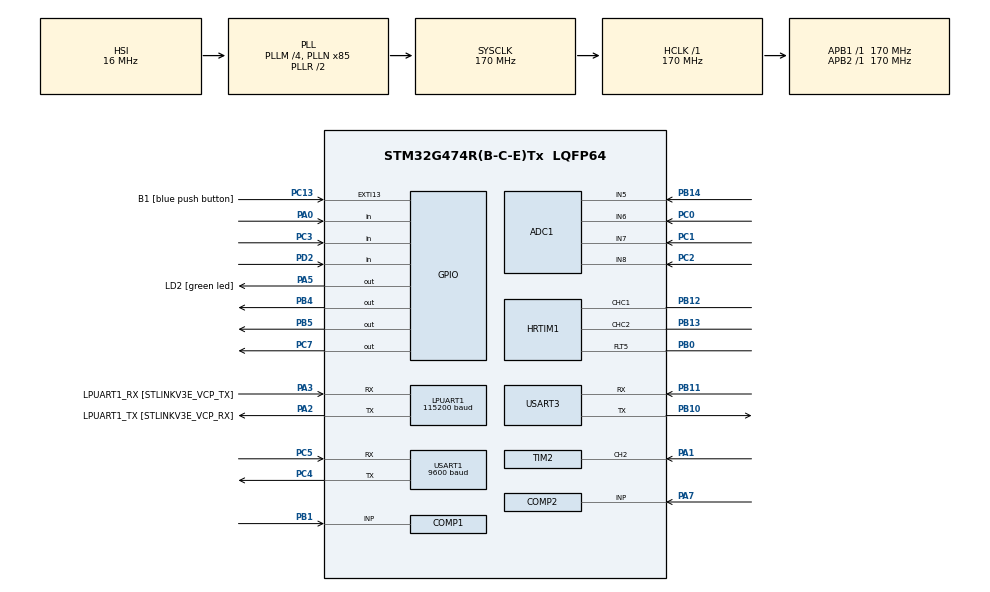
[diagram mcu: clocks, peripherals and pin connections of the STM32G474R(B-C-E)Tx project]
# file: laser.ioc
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ADC1.Channel-0\#ChannelRegularConversion=ADC_CHANNEL_5
ADC1.Channel-1\#ChannelRegularConversion=ADC_CHANNEL_6
ADC1.Channel-2\#ChannelRegularConversion=ADC_CHANNEL_7
ADC1.Channel-4\#ChannelRegularConversion=ADC_CHANNEL_8
ADC1.Channel-7\#ChannelRegularConversion=ADC_CHANNEL_TEMPSENSOR_ADC1
ADC1.ClockPrescaler=ADC_CLOCK_ASYNC_DIV4
ADC1.ContinuousConvMode=DISABLE
ADC1.DMAContinuousRequests=ENABLE
ADC1.EOCSelection=ADC_EOC_SEQ_CONV
ADC1.EnableInjectedConversion=DISABLE
ADC1.ExternalTrigConv=ADC_EXTERNALTRIG_T4_TRGO
ADC1.ExternalTrigConvEdge=ADC_EXTERNALTRIGCONVEDGE_RISING
ADC1.NbrOfConversion=5
ADC1.NbrOfConversionFlag=1
ADC1.OffsetNumber-0\#ChannelRegularConversion=ADC_OFFSET_NONE
ADC1.OffsetNumber-1\#ChannelRegularConversion=ADC_OFFSET_NONE
ADC1.OffsetNumber-2\#ChannelRegularConversion=ADC_OFFSET_NONE
ADC1.OffsetNumber-4\#ChannelRegularConversion=ADC_OFFSET_NONE
ADC1.OffsetNumber-7\#ChannelRegularConversion=ADC_OFFSET_NONE
ADC1.Overrun=ADC_OVR_DATA_OVERWRITTEN
ADC1.OversamplingMode=ENABLE
ADC1.Rank-0\#ChannelRegularConversion=1
ADC1.Rank-1\#ChannelRegularConversion=2
ADC1.Rank-2\#ChannelRegularConversion=3
ADC1.Rank-4\#ChannelRegularConversion=4
ADC1.Rank-7\#ChannelRegularConversion=5
ADC1.Ratio=ADC_OVERSAMPLING_RATIO_4
ADC1.RightBitShift=ADC_RIGHTBITSHIFT_2
ADC1.SamplingTime-0\#ChannelRegularConversion=ADC_SAMPLETIME_2CYCLES_5
ADC1.SamplingTime-1\#ChannelRegularConversion=ADC_SAMPLETIME_2CYCLES_5
ADC1.SamplingTime-2\#ChannelRegularConversion=ADC_SAMPLETIME_2CYCLES_5
ADC1.SamplingTime-4\#ChannelRegularConversion=ADC_SAMPLETIME_2CYCLES_5
ADC1.SamplingTime-7\#ChannelRegularConversion=ADC_SAMPLETIME_640CYCLES_5
ADC1.master=1
COMP1.Hysteresis=COMP_HYSTERESIS_70MV
COMP1.TriggerMode=COMP_TRIGGERMODE_IT_RISING
COMP2.Hysteresis=COMP_HYSTERESIS_70MV
COMP2.TriggerMode=COMP_TRIGGERMODE_IT_RISING
DAC1.DAC_Channel-DAC_OUT2_Int=DAC_CHANNEL_2
Dma.ADC1.0.Direction=DMA_PERIPH_TO_MEMORY
Dma.ADC1.0.EventEnable=DISABLE
Dma.ADC1.0.Instance=DMA1_Channel1
Dma.ADC1.0.MemDataAlignment=DMA_MDATAALIGN_HALFWORD
Dma.ADC1.0.MemInc=DMA_MINC_ENABLE
Dma.ADC1.0.Mode=DMA_CIRCULAR
Dma.ADC1.0.PeriphDataAlignment=DMA_PDATAALIGN_HALFWORD
Dma.ADC1.0.PeriphInc=DMA_PINC_DISABLE
Dma.ADC1.0.Polarity=HAL_DMAMUX_REQ_GEN_RISING
Dma.ADC1.0.Priority=DMA_PRIORITY_VERY_HIGH
Dma.ADC1.0.RequestNumber=1
Dma.ADC1.0.SignalID=NONE
Dma.ADC1.0.SyncEnable=DISABLE
Dma.ADC1.0.SyncPolarity=HAL_DMAMUX_SYNC_NO_EVENT
Dma.ADC1.0.SyncRequestNumber=1
Dma.ADC1.0.SyncSignalID=NONE
Dma.Request0=ADC1
FREERTOS.Mutexes01=usart3Mutex,Dynamic,NULL
FREERTOS.Queues01=McuTempQueue,8,int16_t,0,Dynamic,NULL,NULL;FlybackTempQueue,8,int16_t,0,Dynamic,NULL,NULL;LaserTubeTempQueue,8,int16_t,0,Dynamic,NULL,NULL
FREERTOS.Tasks01=tempMeas,8,128,StartTempMeasTask,Default,NULL,Dynamic,NULL,NULL;usart3PrintTask,8,128,StartUsart3PrintTask,Default,NULL,Dynamic,NULL,NULL
FREERTOS.configENABLE_FPU=1
FREERTOS.configGENERATE_RUN_TIME_STATS=1
FREERTOS.configUSE_NEWLIB_REENTRANT=1
FREERTOS.configUSE_STATS_FORMATTING_FUNCTIONS=1
FREERTOS.copyHeapFile=1
HRTIM1.CompareUnit1-Output_TC1TC2=HRTIM_COMPAREUNIT_1
HRTIM1.CompareUnit2-Output_TC1TC2=HRTIM_COMPAREUNIT_2
HRTIM1.CompareValue1-Output_TC1TC2=BUCK_PWM_PERIOD - 0x60
HRTIM1.CompareValue2-Output_TC1TC2=BUCK_PWM_PERIOD / 2
HRTIM1.DeadTimeInsertion-Output_TC1TC2=HRTIM_TIMDEADTIMEINSERTION_ENABLED
HRTIM1.FallingSignLock-Output_TC1TC2=HRTIM_TIMDEADTIME_FALLINGSIGNLOCK_READONLY
HRTIM1.FallingValue-Output_TC1TC2=DT_FALLING
HRTIM1.FaultLevel1-Output_TC1TC2=HRTIM_OUTPUTFAULTLEVEL_INACTIVE
HRTIM1.FaultLevel2-Output_TC1TC2=HRTIM_OUTPUTFAULTLEVEL_INACTIVE
HRTIM1.Fault_Line1=__NULL
HRTIM1.Fault_Line6=__NULL
HRTIM1.InterleavedMode-Output_TC1TC2=HRTIM_INTERLEAVED_MODE_DISABLED
HRTIM1.InterruptRequests1-Output_TC1TC2=HRTIM_TIM_IT_REP
HRTIM1.NumberInterruptRequests-Output_TC1TC2=1
HRTIM1.NumberResetSource1-Output_TC1TC2=1
HRTIM1.NumberResetSource2_TC=1
HRTIM1.NumberSetSource1-Output_TC1TC2=1
HRTIM1.NumberSetSource2_TC=1
HRTIM1.Periode_TC=BUCK_PWM_PERIOD
HRTIM1.Polarity2-Output_TC1TC2=HRTIM_OUTPUTPOLARITY_LOW
HRTIM1.PreloadEnable-Output_TC1TC2=HRTIM_PRELOAD_ENABLED
HRTIM1.PrescalerDead-Output_TC1TC2=HRTIM_TIMDEADTIME_PRESCALERRATIO_MUL8
HRTIM1.PushPull-Output_TC1TC2=HRTIM_TIMPUSHPULLMODE_ENABLED
HRTIM1.RepetitionCounter-Output_TC1TC2=0
HRTIM1.RepetitionUpdate-Output_TC1TC2=HRTIM_UPDATEONREPETITION_ENABLED
HRTIM1.ResetOutput1_Source1-Output_TC1TC2=HRTIM_OUTPUTRESET_TIMPER
HRTIM1.ResetOutput2_Source1-Output_TC1TC2=HRTIM_OUTPUTRESET_TIMPER
HRTIM1.RisingSignLock-Output_TC1TC2=HRTIM_TIMDEADTIME_RISINGSIGNLOCK_READONLY
HRTIM1.RisingValue-Output_TC1TC2=DT_RISING
HRTIM1.SetOutput1_Source1-Output_TC1TC2=HRTIM_OUTPUTSET_TIMCMP1
HRTIM1.SetOutput2_Source1-Output_TC1TC2=HRTIM_OUTPUTSET_TIMCMP1
LPUART1.BaudRate=115200
LPUART1.WordLength=UART_WORDLENGTH_8B
Mcu.Family=STM32G4
Mcu.Name=STM32G474R(B-C-E)Tx
Mcu.Package=LQFP64
NVIC.ADC1_2_IRQn=true\:5\:0\:false\:false\:true\:true\:true\:true\:true
NVIC.COMP1_2_3_IRQn=true\:5\:0\:false\:false\:true\:true\:false\:true\:true
NVIC.DMA1_Channel1_IRQn=true\:5\:0\:false\:false\:true\:true\:false\:true\:true
NVIC.EXTI15_10_IRQn=true\:5\:0\:false\:false\:true\:true\:true\:true\:true
NVIC.PriorityGroup=NVIC_PRIORITYGROUP_4
NVIC.TIM1_UP_TIM16_IRQn=true\:0\:0\:false\:false\:true\:false\:false\:true\:true
NVIC.TIM2_IRQn=true\:5\:0\:false\:false\:true\:true\:true\:true\:true
NVIC.TIM4_IRQn=true\:5\:0\:false\:false\:true\:true\:true\:true\:true
NVIC.TimeBase=TIM1_UP_TIM16_IRQn
NVIC.TimeBaseIP=TIM1
NVIC.USART3_IRQn=true\:5\:0\:false\:false\:true\:true\:true\:true\:true
PA0.Signal=GPIO_Input
PA1.GPIO_PuPd=GPIO_PULLDOWN
PA1.GPIO_Speed=GPIO_SPEED_FREQ_HIGH
PA1.Signal=S_TIM2_CH2
PA13.GPIO_Label=T_SWDIO
PA13.Mode=Serial_Wire
PA13.Signal=SYS_JTMS-SWDIO
PA14.GPIO_Label=T_SWCLK
PA14.Mode=Serial_Wire
PA14.Signal=SYS_JTCK-SWCLK
PA2.GPIO_Label=LPUART1_TX [STLINKV3E_VCP_RX]
PA2.Mode=Asynchronous
PA2.Signal=LPUART1_TX
PA3.GPIO_Label=LPUART1_RX [STLINKV3E_VCP_TX]
PA3.Mode=Asynchronous
PA3.Signal=LPUART1_RX
PA5.GPIO_Label=LD2 [green led]
PA5.Signal=GPIO_Output
PA7.Mode=INP
PA7.Signal=COMP2_INP
PB0.Mode=Fault_Enable5
PB0.Signal=HRTIM1_FLT5
PB1.Mode=INP
PB1.Signal=COMP1_INP
PB10.Mode=Asynchronous
PB10.Signal=USART3_TX
PB11.Mode=Asynchronous
PB11.Signal=USART3_RX
PB12.Mode=Output_TC1TC2
PB12.Signal=HRTIM1_CHC1
PB13.Mode=Output_TC1TC2
PB13.Signal=HRTIM1_CHC2
PB14.Mode=IN5-Single-Ended
PB14.Signal=ADC1_IN5
PB3.GPIO_Label=T_SWO
PB3.Signal=SYS_JTDO-SWO
PB4.Signal=GPIO_Output
PB5.Signal=GPIO_Output
PC0.Mode=IN6-Single-Ended
PC0.Signal=ADC1_IN6
PC1.Mode=IN7-Single-Ended
PC1.Signal=ADC1_IN7
PC13.GPIO_Label=B1 [blue push button]
PC13.Signal=GPXTI13
PC14-OSC32_IN.Mode=LSE-External-Oscillator
PC14-OSC32_IN.Signal=RCC_OSC32_IN
PC15-OSC32_OUT.Mode=LSE-External-Oscillator
PC15-OSC32_OUT.Signal=RCC_OSC32_OUT
PC2.Mode=IN8-Single-Ended
PC2.Signal=ADC1_IN8
PC3.Signal=GPIO_Input
PC4.Mode=Asynchronous
PC4.Signal=USART1_TX
PC5.Mode=Asynchronous
PC5.Signal=USART1_RX
PC7.Signal=GPIO_Output
PD2.Signal=GPIO_Input
PF0-OSC_IN.Mode=HSE-External-Oscillator
PF0-OSC_IN.Signal=RCC_OSC_IN
PF1-OSC_OUT.Mode=HSE-External-Oscillator
PF1-OSC_OUT.Signal=RCC_OSC_OUT
ProjectManager.HeapSize=0x200
ProjectManager.StackSize=0x400
ProjectManager.TargetToolchain=STM32CubeIDE
RCC.ADC12Freq_Value=170000000
RCC.ADC345Freq_Value=170000000
RCC.AHBFreq_Value=170000000
RCC.APB1Freq_Value=170000000
RCC.APB1TimFreq_Value=170000000
RCC.APB2Freq_Value=170000000
RCC.APB2TimFreq_Value=170000000
RCC.CortexFreq_Value=170000000
RCC.EXTERNAL_CLOCK_VALUE=12288000
RCC.HCLKFreq_Value=170000000
RCC.HSE_VALUE=24000000
RCC.HSI48_VALUE=48000000
RCC.HSI_VALUE=16000000
RCC.PLLM=RCC_PLLM_DIV4
RCC.PLLN=85
RCC.RTCClockSelection=RCC_RTCCLKSOURCE_LSE
RCC.SYSCLKFreq_VALUE=170000000
RCC.SYSCLKSource=RCC_SYSCLKSOURCE_PLLCLK
RCC.USBFreq_Value=170000000
RCC.VCOOutputFreq_Value=340000000
SH.S_TIM2_CH2.0=TIM2_CH2,TriggerSource_TI2FP2
SH.S_TIM2_CH2.1=TIM2_CH2,Input_Capture2_from_TI2
SH.S_TIM2_CH2.2=TIM2_CH2,Input_Capture1_from_TI2
TIM2.Channel-Input_Capture1_from_TI2=TIM_CHANNEL_1
TIM2.Channel-Input_Capture2_from_TI2=TIM_CHANNEL_2
TIM2.Channel-Output\ Compare3\ No\ Output=TIM_CHANNEL_3
TIM2.ICPolarity_CH1=TIM_INPUTCHANNELPOLARITY_FALLING
TIM2.OCPolarity_3=TIM_OCPOLARITY_LOW
TIM2.PeriodNoDither=425000
TIM2.PulseNoDither_3=8900
TIM4.AutoReloadPreload=TIM_AUTORELOAD_PRELOAD_ENABLE
TIM4.Channel-Output\ Compare4\ No\ Output=TIM_CHANNEL_4
TIM4.OC4Preload=ENABLE
TIM4.PeriodNoDither=5-1
TIM4.Prescaler=170-1
TIM4.TIM_MasterOutputTrigger=TIM_TRGO_UPDATE
USART1.BaudRate=9600
USART1.VirtualMode-Asynchronous=VM_ASYNC
USART3.VirtualMode-Asynchronous=VM_ASYNC
VP_ADC1_TempSens_Input.Mode=IN-TempSens
VP_COMP1_VS_DAC1OUT1.Mode=INM_DAC1OUT1
VP_COMP2_VS_DAC1OUT2.Mode=INM_DAC1OUT2
VP_DAC1_VS_DACI1.Mode=DAC_OUT1_Int
VP_DAC1_VS_DACI2.Mode=DAC_OUT2_Int
VP_FREERTOS_VS_CMSIS_V2.Mode=CMSIS_V2
VP_SYS_VS_DBSignals.Mode=DisableDeadBatterySignals
VP_SYS_VS_tim1.Mode=TIM1
VP_TIM2_VS_ControllerModeReset.Mode=Reset Mode
VP_TIM2_VS_no_output3.Mode=Output Compare3 No Output
VP_TIM4_VS_ClockSourceINT.Mode=Internal
VP_TIM4_VS_no_output4.Mode=Output Compare4 No Output
board=NUCLEO-G474RE

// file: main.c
/* USER CODE BEGIN Header */
/**
 ******************************************************************************
 * @file           : main.c
 * @brief          : Main program body
 ******************************************************************************
 * @attention
 *
 * <h2><center>&copy; Copyright (c) 2020 STMicroelectronics.
 * All rights reserved.</center></h2>
 *
 * This software component is licensed by ST under BSD 3-Clause license,
 * the "License"; You may not use this file except in compliance with the
 * License. You may obtain a copy of the License at:
 *                        opensource.org/licenses/BSD-3-Clause
 *
 ******************************************************************************
 */
/* USER CODE END Header */
#include "main.h"
#include "cmsis_os.h"

/* USER CODE BEGIN Includes */
#include "consts.h"
/* USER CODE END Includes */

/* USER CODE BEGIN PD */

/* Formula below works down to 70.3kHz (with presc ratio = 1) */
#define TIMB_PERIOD ((uint16_t)(((uint64_t)HRTIM_INPUT_CLOCK * 32) / TIMB_PWM_FREQ))

/* Formula below works down to 70.3kHz (with presc ratio = 1) */
#define MASTER_PERIOD ((uint16_t)(((uint64_t)HRTIM_INPUT_CLOCK * 32) / MASTER_PWM_FREQ))
/* Value of analog reference voltage (Vref+), connected to analog voltage   */
/* supply Vdda (unit: mV).                                                  */
#define VDDA_APPLI                       ((uint32_t)3300)
/* USER CODE END PD */

ADC_HandleTypeDef hadc1;
DMA_HandleTypeDef hdma_adc1;

COMP_HandleTypeDef hcomp1;
COMP_HandleTypeDef hcomp2;

DAC_HandleTypeDef hdac1;

HRTIM_HandleTypeDef hhrtim1;

UART_HandleTypeDef hlpuart1;
UART_HandleTypeDef huart1;
UART_HandleTypeDef huart3;

TIM_HandleTypeDef htim2;
TIM_HandleTypeDef htim4;

/* Definitions for tempMeas */
osThreadId_t tempMeasHandle;
const osThreadAttr_t tempMeas_attributes = {
  .name = "tempMeas",
  .priority = (osPriority_t) osPriorityLow,
  .stack_size = 128 * 4
};
/* Definitions for usart3PrintTask */
osThreadId_t usart3PrintTaskHandle;
const osThreadAttr_t usart3PrintTask_attributes = {
  .name = "usart3PrintTask",
  .priority = (osPriority_t) osPriorityLow,
  .stack_size = 128 * 4
};
/* Definitions for McuTempQueue */
osMessageQueueId_t McuTempQueueHandle;
const osMessageQueueAttr_t McuTempQueue_attributes = {
  .name = "McuTempQueue"
};
/* Definitions for FlybackTempQueue */
osMessageQueueId_t FlybackTempQueueHandle;
const osMessageQueueAttr_t FlybackTempQueue_attributes = {
  .name = "FlybackTempQueue"
};
/* Definitions for LaserTubeTempQueue */
osMessageQueueId_t LaserTubeTempQueueHandle;
const osMessageQueueAttr_t LaserTubeTempQueue_attributes = {
  .name = "LaserTubeTempQueue"
};
/* Definitions for usart3Mutex */
osMutexId_t usart3MutexHandle;
const osMutexAttr_t usart3Mutex_attributes = {
  .name = "usart3Mutex"
};
/* USER CODE BEGIN PV */
const uint16_t ov_threshold = 1024;	//Over voltage threshold
const uint16_t oc_threshold = 3072;	//Over current threshold
/* Deadtime values for buck and boost stages */
//#define DT_RISING       ((uint16_t)250) // 184ns
//#define DT_FALLING      ((uint16_t)300) // 220ns
#define DT_RISING       ((uint16_t)280) // 750ns
#define DT_FALLING      ((uint16_t)280) // 750ns
/* USER CODE END PV */

void SystemClock_Config(void);
static void MX_GPIO_Init(void);
static void MX_DMA_Init(void);
static void MX_LPUART1_UART_Init(void);
static void MX_ADC1_Init(void);
static void MX_TIM2_Init(void);
static void MX_HRTIM1_Init(void);
static void MX_TIM4_Init(void);
static void MX_COMP1_Init(void);
static void MX_COMP2_Init(void);
static void MX_USART1_UART_Init(void);
static void MX_USART3_UART_Init(void);
static void MX_DAC1_Init(void);
void StartTempMeasTask(void *argument);
void StartUsart3PrintTask(void *argument);

/* USER CODE BEGIN PFP */
#ifdef __GNUC__
/* With GCC, small printf (option LD Linker->Libraries->Small printf
   set to 'Yes') calls __io_putchar() */
#define PUTCHAR_PROTOTYPE int __io_putchar(int ch)
#define GETCHAR_PROTOTYPE int __io_getchar(void)
#else
#define PUTCHAR_PROTOTYPE int fputc(int ch, FILE *f)
#define GETCHAR_PROTOTYPE int fgetc(FILE *f)
#endif /* __GNUC__ */
/* USER CODE END PFP */

/* USER CODE BEGIN 0 */
/* Captured Value */
__IO uint32_t uwIC2Value = 0;
/* Duty Cycle Value from 0-1*/
uint16_t uwDutyCycle = 0;
/* Frequency Value */
uint32_t uwFrequency = 0;
/* ADC1 CH5,6,7,8 and MCU internal temperature sensor Value */
__IO uint16_t ADCValue[5] = { 0 };
float mcuTemp = -273.15f;
/*0 for PWM input, 1 for ANALOG input*/
uint8_t PWM_OR_ANALOG_INPUT = 1;
const uint16_t pwm_adc_low_threshold = 330;	//4096 * 5% = 205
const uint16_t pwm_adc_high_threshold = 2510;	//4096 * 95% = 3891

int __io_putchar(int ch) {
	uint8_t c[1];
	c[0] = ch & 0x00FF;
	HAL_UART_Transmit(&huart3, &*c, 1, 10);
	return ch;
}

int __io_getchar(void) {
	uint8_t ch = 0;
	// Clear the Overrun flag just before receiving the first character
	__HAL_UART_CLEAR_OREFLAG(&huart3);
	HAL_UART_Receive(&huart3, (uint8_t*) &ch, 1, 0xFFFF);
	if (ch == '\r') {
		__io_putchar('\r');
		ch = '\n';
	}
	return __io_putchar(ch);
}

int _read(int file, char *ptr, int len) {
	int DataIdx;
	for (DataIdx = 0; DataIdx < len; DataIdx++)
	{
		*ptr++ = __io_getchar();
	}
	return len;
}

int _write(int file, char *ptr, int len) {
	int DataIdx;
	for (DataIdx = 0; DataIdx < len; DataIdx++) {
		__io_putchar(*ptr++);
	}
	return len;
}

/* USER CODE END 0 */

int main(void)
{

  /* MCU Configuration--------------------------------------------------------*/

  /* Reset of all peripherals, Initializes the Flash interface and the Systick. */
  HAL_Init();

  /* Configure the system clock */
  SystemClock_Config();

  /* Initialize all configured peripherals */
  MX_GPIO_Init();
  MX_DMA_Init();
  MX_LPUART1_UART_Init();
  MX_ADC1_Init();
  MX_TIM2_Init();
  MX_HRTIM1_Init();
  MX_TIM4_Init();
  MX_COMP1_Init();
  MX_COMP2_Init();
  MX_USART1_UART_Init();
  MX_USART3_UART_Init();
  MX_DAC1_Init();
  /* USER CODE BEGIN 2 */
  HAL_DAC_Start(&hdac1, DAC_CHANNEL_1);
  HAL_DAC_SetValue(&hdac1, DAC_CHANNEL_1, DAC_ALIGN_12B_R, oc_threshold);
  HAL_DAC_Start(&hdac1, DAC_CHANNEL_2);
  HAL_DAC_SetValue(&hdac1, DAC_CHANNEL_2, DAC_ALIGN_12B_R, ov_threshold);
  HAL_COMP_Start(&hcomp1);
  HAL_COMP_Start(&hcomp2);
  /* HRTIM start-up */
  //LL_HRTIM_TIM_SetCompare1(HRTIM1, LL_HRTIM_TIMER_C, BUCK_PWM_PERIOD*99/100);
  LL_HRTIM_TIM_EnableDeadTime(HRTIM1, LL_HRTIM_TIMER_C);
  LL_HRTIM_TIM_SetCompare1(HRTIM1, LL_HRTIM_TIMER_C, BUCK_PWM_PERIOD * 0.95);
  LL_HRTIM_EnableIT_REP(HRTIM1, LL_HRTIM_TIMER_C);
  LL_HRTIM_TIM_CounterEnable(HRTIM1, LL_HRTIM_TIMER_C);
  /* Enable HRTIM's outputs TC1, TC2, TD1 and TD2 */
  //LL_HRTIM_EnableOutput(HRTIM1, LL_HRTIM_OUTPUT_TC1 | LL_HRTIM_OUTPUT_TC2);
  LL_HRTIM_DisableOutput(HRTIM1, LL_HRTIM_OUTPUT_TC1 | LL_HRTIM_OUTPUT_TC2);
  HAL_ADC_Start_DMA(&hadc1, (uint32_t*) &ADCValue, 5);
  HAL_TIM_Base_Start_IT(&htim4);
  HAL_GPIO_WritePin(GPIOB, GPIO_PIN_4, GPIO_PIN_RESET);
  //setvbuf(stdout, NULL, _IONBF, 0);
  printf("CO2 Power supply Starting.\r\n");
  /* USER CODE END 2 */

  /* Init scheduler */
  osKernelInitialize();
  /* Create the mutex(es) */
  /* creation of usart3Mutex */
  usart3MutexHandle = osMutexNew(&usart3Mutex_attributes);

  /* Create the queue(s) */
  /* creation of McuTempQueue */
  McuTempQueueHandle = osMessageQueueNew (8, sizeof(int16_t), &McuTempQueue_attributes);

  /* creation of FlybackTempQueue */
  FlybackTempQueueHandle = osMessageQueueNew (8, sizeof(int16_t), &FlybackTempQueue_attributes);

  /* creation of LaserTubeTempQueue */
  LaserTubeTempQueueHandle = osMessageQueueNew (8, sizeof(int16_t), &LaserTubeTempQueue_attributes);

  /* Create the thread(s) */
  /* creation of tempMeas */
  tempMeasHandle = osThreadNew(StartTempMeasTask, NULL, &tempMeas_attributes);

  /* creation of usart3PrintTask */
  usart3PrintTaskHandle = osThreadNew(StartUsart3PrintTask, NULL, &usart3PrintTask_attributes);

  /* Start scheduler */
  osKernelStart();

  /* We should never get here as control is now taken by the scheduler */
  /* Infinite loop */
  while (1) {

    /* USER CODE BEGIN 3 */

	osDelay(1000);
  }
  /* USER CODE END 3 */
}

void SystemClock_Config(void)
{
  RCC_OscInitTypeDef RCC_OscInitStruct = {0};
  RCC_ClkInitTypeDef RCC_ClkInitStruct = {0};

  /** Configure the main internal regulator output voltage
  */
  HAL_PWREx_ControlVoltageScaling(PWR_REGULATOR_VOLTAGE_SCALE1_BOOST);

  /** Initializes the RCC Oscillators according to the specified parameters
  * in the RCC_OscInitTypeDef structure.
  */
  RCC_OscInitStruct.OscillatorType = RCC_OSCILLATORTYPE_HSI;
  RCC_OscInitStruct.HSIState = RCC_HSI_ON;
  RCC_OscInitStruct.HSICalibrationValue = RCC_HSICALIBRATION_DEFAULT;
  RCC_OscInitStruct.PLL.PLLState = RCC_PLL_ON;
  RCC_OscInitStruct.PLL.PLLSource = RCC_PLLSOURCE_HSI;
  RCC_OscInitStruct.PLL.PLLM = RCC_PLLM_DIV4;
  RCC_OscInitStruct.PLL.PLLN = 85;
  RCC_OscInitStruct.PLL.PLLP = RCC_PLLP_DIV2;
  RCC_OscInitStruct.PLL.PLLQ = RCC_PLLQ_DIV2;
  RCC_OscInitStruct.PLL.PLLR = RCC_PLLR_DIV2;
  if (HAL_RCC_OscConfig(&RCC_OscInitStruct) != HAL_OK)
  {
    Error_Handler();
  }

  /** Initializes the CPU, AHB and APB buses clocks
  */
  RCC_ClkInitStruct.ClockType = RCC_CLOCKTYPE_HCLK|RCC_CLOCKTYPE_SYSCLK
                              |RCC_CLOCKTYPE_PCLK1|RCC_CLOCKTYPE_PCLK2;
  RCC_ClkInitStruct.SYSCLKSource = RCC_SYSCLKSOURCE_PLLCLK;
  RCC_ClkInitStruct.AHBCLKDivider = RCC_SYSCLK_DIV1;
  RCC_ClkInitStruct.APB1CLKDivider = RCC_HCLK_DIV1;
  RCC_ClkInitStruct.APB2CLKDivider = RCC_HCLK_DIV1;

  if (HAL_RCC_ClockConfig(&RCC_ClkInitStruct, FLASH_LATENCY_4) != HAL_OK)
  {
    Error_Handler();
  }
}

static void MX_ADC1_Init(void)
{

  ADC_MultiModeTypeDef multimode = {0};
  ADC_ChannelConfTypeDef sConfig = {0};

  /** Common config
  */
  hadc1.Instance = ADC1;
  hadc1.Init.ClockPrescaler = ADC_CLOCK_ASYNC_DIV4;
  hadc1.Init.Resolution = ADC_RESOLUTION_12B;
  hadc1.Init.DataAlign = ADC_DATAALIGN_RIGHT;
  hadc1.Init.GainCompensation = 0;
  hadc1.Init.ScanConvMode = ADC_SCAN_ENABLE;
  hadc1.Init.EOCSelection = ADC_EOC_SEQ_CONV;
  hadc1.Init.LowPowerAutoWait = DISABLE;
  hadc1.Init.ContinuousConvMode = DISABLE;
  hadc1.Init.NbrOfConversion = 5;
  hadc1.Init.DiscontinuousConvMode = DISABLE;
  hadc1.Init.ExternalTrigConv = ADC_EXTERNALTRIG_T4_TRGO;
  hadc1.Init.ExternalTrigConvEdge = ADC_EXTERNALTRIGCONVEDGE_RISING;
  hadc1.Init.DMAContinuousRequests = ENABLE;
  hadc1.Init.Overrun = ADC_OVR_DATA_OVERWRITTEN;
  hadc1.Init.OversamplingMode = ENABLE;
  hadc1.Init.Oversampling.Ratio = ADC_OVERSAMPLING_RATIO_4;
  hadc1.Init.Oversampling.RightBitShift = ADC_RIGHTBITSHIFT_2;
  hadc1.Init.Oversampling.TriggeredMode = ADC_TRIGGEREDMODE_SINGLE_TRIGGER;
  hadc1.Init.Oversampling.OversamplingStopReset = ADC_REGOVERSAMPLING_CONTINUED_MODE;
  if (HAL_ADC_Init(&hadc1) != HAL_OK)
  {
    Error_Handler();
  }

  /** Configure the ADC multi-mode
  */
  multimode.Mode = ADC_MODE_INDEPENDENT;
  if (HAL_ADCEx_MultiModeConfigChannel(&hadc1, &multimode) != HAL_OK)
  {
    Error_Handler();
  }

  /** Configure Regular Channel
  */
  sConfig.Channel = ADC_CHANNEL_5;
  sConfig.Rank = ADC_REGULAR_RANK_1;
  sConfig.SamplingTime = ADC_SAMPLETIME_2CYCLES_5;
  sConfig.SingleDiff = ADC_SINGLE_ENDED;
  sConfig.OffsetNumber = ADC_OFFSET_NONE;
  sConfig.Offset = 0;
  if (HAL_ADC_ConfigChannel(&hadc1, &sConfig) != HAL_OK)
  {
    Error_Handler();
  }

  /** Configure Regular Channel
  */
  sConfig.Channel = ADC_CHANNEL_6;
  sConfig.Rank = ADC_REGULAR_RANK_2;
  if (HAL_ADC_ConfigChannel(&hadc1, &sConfig) != HAL_OK)
  {
    Error_Handler();
  }

  /** Configure Regular Channel
  */
  sConfig.Channel = ADC_CHANNEL_7;
  sConfig.Rank = ADC_REGULAR_RANK_3;
  if (HAL_ADC_ConfigChannel(&hadc1, &sConfig) != HAL_OK)
  {
    Error_Handler();
  }

  /** Configure Regular Channel
  */
  sConfig.Channel = ADC_CHANNEL_8;
  sConfig.Rank = ADC_REGULAR_RANK_4;
  if (HAL_ADC_ConfigChannel(&hadc1, &sConfig) != HAL_OK)
  {
    Error_Handler();
  }

  /** Configure Regular Channel
  */
  sConfig.Channel = ADC_CHANNEL_TEMPSENSOR_ADC1;
  sConfig.Rank = ADC_REGULAR_RANK_5;
  sConfig.SamplingTime = ADC_SAMPLETIME_640CYCLES_5;
  if (HAL_ADC_ConfigChannel(&hadc1, &sConfig) != HAL_OK)
  {
    Error_Handler();
  }

}

static void MX_COMP1_Init(void)
{

  hcomp1.Instance = COMP1;
  hcomp1.Init.InputPlus = COMP_INPUT_PLUS_IO2;
  hcomp1.Init.InputMinus = COMP_INPUT_MINUS_DAC1_CH1;
  hcomp1.Init.OutputPol = COMP_OUTPUTPOL_NONINVERTED;
  hcomp1.Init.Hysteresis = COMP_HYSTERESIS_70MV;
  hcomp1.Init.BlankingSrce = COMP_BLANKINGSRC_NONE;
  hcomp1.Init.TriggerMode = COMP_TRIGGERMODE_IT_RISING;
  if (HAL_COMP_Init(&hcomp1) != HAL_OK)
  {
    Error_Handler();
  }

}

static void MX_COMP2_Init(void)
{

  hcomp2.Instance = COMP2;
  hcomp2.Init.InputPlus = COMP_INPUT_PLUS_IO1;
  hcomp2.Init.InputMinus = COMP_INPUT_MINUS_DAC1_CH2;
  hcomp2.Init.OutputPol = COMP_OUTPUTPOL_NONINVERTED;
  hcomp2.Init.Hysteresis = COMP_HYSTERESIS_70MV;
  hcomp2.Init.BlankingSrce = COMP_BLANKINGSRC_NONE;
  hcomp2.Init.TriggerMode = COMP_TRIGGERMODE_IT_RISING;
  if (HAL_COMP_Init(&hcomp2) != HAL_OK)
  {
    Error_Handler();
  }

}

static void MX_DAC1_Init(void)
{

  DAC_ChannelConfTypeDef sConfig = {0};

  /** DAC Initialization
  */
  hdac1.Instance = DAC1;
  if (HAL_DAC_Init(&hdac1) != HAL_OK)
  {
    Error_Handler();
  }

  /** DAC channel OUT1 config
  */
  sConfig.DAC_HighFrequency = DAC_HIGH_FREQUENCY_INTERFACE_MODE_AUTOMATIC;
  sConfig.DAC_DMADoubleDataMode = DISABLE;
  sConfig.DAC_SignedFormat = DISABLE;
  sConfig.DAC_SampleAndHold = DAC_SAMPLEANDHOLD_DISABLE;
  sConfig.DAC_Trigger = DAC_TRIGGER_NONE;
  sConfig.DAC_Trigger2 = DAC_TRIGGER_NONE;
  sConfig.DAC_OutputBuffer = DAC_OUTPUTBUFFER_DISABLE;
  sConfig.DAC_ConnectOnChipPeripheral = DAC_CHIPCONNECT_INTERNAL;
  sConfig.DAC_UserTrimming = DAC_TRIMMING_FACTORY;
  if (HAL_DAC_ConfigChannel(&hdac1, &sConfig, DAC_CHANNEL_1) != HAL_OK)
  {
    Error_Handler();
  }

  /** DAC channel OUT2 config
  */
  if (HAL_DAC_ConfigChannel(&hdac1, &sConfig, DAC_CHANNEL_2) != HAL_OK)
  {
    Error_Handler();
  }

}

static void MX_HRTIM1_Init(void)
{

  HRTIM_FaultBlankingCfgTypeDef pFaultBlkCfg = {0};
  HRTIM_FaultCfgTypeDef pFaultCfg = {0};
  HRTIM_TimeBaseCfgTypeDef pTimeBaseCfg = {0};
  HRTIM_TimerCtlTypeDef pTimerCtl = {0};
  HRTIM_TimerCfgTypeDef pTimerCfg = {0};
  HRTIM_CompareCfgTypeDef pCompareCfg = {0};
  HRTIM_DeadTimeCfgTypeDef pDeadTimeCfg = {0};
  HRTIM_OutputCfgTypeDef pOutputCfg = {0};

  hhrtim1.Instance = HRTIM1;
  hhrtim1.Init.HRTIMInterruptResquests = HRTIM_IT_NONE;
  hhrtim1.Init.SyncOptions = HRTIM_SYNCOPTION_NONE;
  if (HAL_HRTIM_Init(&hhrtim1) != HAL_OK)
  {
    Error_Handler();
  }
  if (HAL_HRTIM_DLLCalibrationStart(&hhrtim1, HRTIM_CALIBRATIONRATE_3) != HAL_OK)
  {
    Error_Handler();
  }
  if (HAL_HRTIM_PollForDLLCalibration(&hhrtim1, 10) != HAL_OK)
  {
    Error_Handler();
  }
  if (HAL_HRTIM_FaultPrescalerConfig(&hhrtim1, HRTIM_FAULTPRESCALER_DIV1) != HAL_OK)
  {
    Error_Handler();
  }
  pFaultBlkCfg.Threshold = 0;
  pFaultBlkCfg.ResetMode = HRTIM_FAULTCOUNTERRST_UNCONDITIONAL;
  pFaultBlkCfg.BlankingSource = HRTIM_FAULTBLANKINGMODE_RSTALIGNED;
  if (HAL_HRTIM_FaultCounterConfig(&hhrtim1, HRTIM_FAULT_5, &pFaultBlkCfg) != HAL_OK)
  {
    Error_Handler();
  }
  if (HAL_HRTIM_FaultBlankingConfigAndEnable(&hhrtim1, HRTIM_FAULT_5, &pFaultBlkCfg) != HAL_OK)
  {
    Error_Handler();
  }
  pFaultCfg.Source = HRTIM_FAULTSOURCE_DIGITALINPUT;
  pFaultCfg.Polarity = HRTIM_FAULTPOLARITY_HIGH;
  pFaultCfg.Filter = HRTIM_FAULTFILTER_NONE;
  pFaultCfg.Lock = HRTIM_FAULTLOCK_READWRITE;
  if (HAL_HRTIM_FaultConfig(&hhrtim1, HRTIM_FAULT_5, &pFaultCfg) != HAL_OK)
  {
    Error_Handler();
  }
  HAL_HRTIM_FaultModeCtl(&hhrtim1, HRTIM_FAULT_5, HRTIM_FAULTMODECTL_ENABLED);
  pTimeBaseCfg.Period = BUCK_PWM_PERIOD;
  pTimeBaseCfg.RepetitionCounter = 0;
  pTimeBaseCfg.PrescalerRatio = HRTIM_PRESCALERRATIO_MUL32;
  pTimeBaseCfg.Mode = HRTIM_MODE_CONTINUOUS;
  if (HAL_HRTIM_TimeBaseConfig(&hhrtim1, HRTIM_TIMERINDEX_TIMER_C, &pTimeBaseCfg) != HAL_OK)
  {
    Error_Handler();
  }
  pTimerCtl.UpDownMode = HRTIM_TIMERUPDOWNMODE_UP;
  pTimerCtl.TrigHalf = HRTIM_TIMERTRIGHALF_DISABLED;
  pTimerCtl.GreaterCMP1 = HRTIM_TIMERGTCMP1_EQUAL;
  pTimerCtl.DualChannelDacEnable = HRTIM_TIMER_DCDE_DISABLED;
  if (HAL_HRTIM_WaveformTimerControl(&hhrtim1, HRTIM_TIMERINDEX_TIMER_C, &pTimerCtl) != HAL_OK)
  {
    Error_Handler();
  }
  pTimerCfg.InterruptRequests = HRTIM_TIM_IT_REP;
  pTimerCfg.DMARequests = HRTIM_TIM_DMA_NONE;
  pTimerCfg.DMASrcAddress = 0x0000;
  pTimerCfg.DMADstAddress = 0x0000;
  pTimerCfg.DMASize = 0x1;
  pTimerCfg.HalfModeEnable = HRTIM_HALFMODE_DISABLED;
  pTimerCfg.InterleavedMode = HRTIM_INTERLEAVED_MODE_DISABLED;
  pTimerCfg.StartOnSync = HRTIM_SYNCSTART_DISABLED;
  pTimerCfg.ResetOnSync = HRTIM_SYNCRESET_DISABLED;
  pTimerCfg.DACSynchro = HRTIM_DACSYNC_NONE;
  pTimerCfg.PreloadEnable = HRTIM_PRELOAD_ENABLED;
  pTimerCfg.UpdateGating = HRTIM_UPDATEGATING_INDEPENDENT;
  pTimerCfg.BurstMode = HRTIM_TIMERBURSTMODE_MAINTAINCLOCK;
  pTimerCfg.RepetitionUpdate = HRTIM_UPDATEONREPETITION_ENABLED;
  pTimerCfg.PushPull = HRTIM_TIMPUSHPULLMODE_ENABLED;
  pTimerCfg.FaultEnable = HRTIM_TIMFAULTENABLE_NONE;
  pTimerCfg.FaultLock = HRTIM_TIMFAULTLOCK_READWRITE;
  pTimerCfg.DeadTimeInsertion = HRTIM_TIMDEADTIMEINSERTION_ENABLED;
  pTimerCfg.DelayedProtectionMode = HRTIM_TIMER_A_B_C_DELAYEDPROTECTION_DISABLED;
  pTimerCfg.UpdateTrigger = HRTIM_TIMUPDATETRIGGER_NONE;
  pTimerCfg.ResetTrigger = HRTIM_TIMRESETTRIGGER_NONE;
  pTimerCfg.ResetUpdate = HRTIM_TIMUPDATEONRESET_DISABLED;
  pTimerCfg.ReSyncUpdate = HRTIM_TIMERESYNC_UPDATE_UNCONDITIONAL;
  if (HAL_HRTIM_WaveformTimerConfig(&hhrtim1, HRTIM_TIMERINDEX_TIMER_C, &pTimerCfg) != HAL_OK)
  {
    Error_Handler();
  }
  pCompareCfg.CompareValue = BUCK_PWM_PERIOD - 0x60;
  if (HAL_HRTIM_WaveformCompareConfig(&hhrtim1, HRTIM_TIMERINDEX_TIMER_C, HRTIM_COMPAREUNIT_1, &pCompareCfg) != HAL_OK)
  {
    Error_Handler();
  }
  pCompareCfg.CompareValue = BUCK_PWM_PERIOD / 2;
  pCompareCfg.AutoDelayedMode = HRTIM_AUTODELAYEDMODE_REGULAR;
  pCompareCfg.AutoDelayedTimeout = 0x0000;

  if (HAL_HRTIM_WaveformCompareConfig(&hhrtim1, HRTIM_TIMERINDEX_TIMER_C, HRTIM_COMPAREUNIT_2, &pCompareCfg) != HAL_OK)
  {
    Error_Handler();
  }
  pDeadTimeCfg.Prescaler = HRTIM_TIMDEADTIME_PRESCALERRATIO_MUL8;
  pDeadTimeCfg.RisingValue = DT_RISING;
  pDeadTimeCfg.RisingSign = HRTIM_TIMDEADTIME_RISINGSIGN_POSITIVE;
  pDeadTimeCfg.RisingLock = HRTIM_TIMDEADTIME_RISINGLOCK_WRITE;
  pDeadTimeCfg.RisingSignLock = HRTIM_TIMDEADTIME_RISINGSIGNLOCK_READONLY;
  pDeadTimeCfg.FallingValue = DT_FALLING;
  pDeadTimeCfg.FallingSign = HRTIM_TIMDEADTIME_FALLINGSIGN_POSITIVE;
  pDeadTimeCfg.FallingLock = HRTIM_TIMDEADTIME_FALLINGLOCK_WRITE;
  pDeadTimeCfg.FallingSignLock = HRTIM_TIMDEADTIME_FALLINGSIGNLOCK_READONLY;
  if (HAL_HRTIM_DeadTimeConfig(&hhrtim1, HRTIM_TIMERINDEX_TIMER_C, &pDeadTimeCfg) != HAL_OK)
  {
    Error_Handler();
  }
  pOutputCfg.Polarity = HRTIM_OUTPUTPOLARITY_HIGH;
  pOutputCfg.SetSource = HRTIM_OUTPUTSET_TIMCMP1;
  pOutputCfg.ResetSource = HRTIM_OUTPUTRESET_TIMPER;
  pOutputCfg.IdleMode = HRTIM_OUTPUTIDLEMODE_NONE;
  pOutputCfg.IdleLevel = HRTIM_OUTPUTIDLELEVEL_INACTIVE;
  pOutputCfg.FaultLevel = HRTIM_OUTPUTFAULTLEVEL_INACTIVE;
  pOutputCfg.ChopperModeEnable = HRTIM_OUTPUTCHOPPERMODE_DISABLED;
  pOutputCfg.BurstModeEntryDelayed = HRTIM_OUTPUTBURSTMODEENTRY_REGULAR;
  if (HAL_HRTIM_WaveformOutputConfig(&hhrtim1, HRTIM_TIMERINDEX_TIMER_C, HRTIM_OUTPUT_TC1, &pOutputCfg) != HAL_OK)
  {
    Error_Handler();
  }
  pOutputCfg.Polarity = HRTIM_OUTPUTPOLARITY_LOW;
  if (HAL_HRTIM_WaveformOutputConfig(&hhrtim1, HRTIM_TIMERINDEX_TIMER_C, HRTIM_OUTPUT_TC2, &pOutputCfg) != HAL_OK)
  {
    Error_Handler();
  }
  HAL_HRTIM_MspPostInit(&hhrtim1);

}

static void MX_LPUART1_UART_Init(void)
{

  hlpuart1.Instance = LPUART1;
  hlpuart1.Init.BaudRate = 115200;
  hlpuart1.Init.WordLength = UART_WORDLENGTH_8B;
  hlpuart1.Init.StopBits = UART_STOPBITS_1;
  hlpuart1.Init.Parity = UART_PARITY_NONE;
  hlpuart1.Init.Mode = UART_MODE_TX_RX;
  hlpuart1.Init.HwFlowCtl = UART_HWCONTROL_NONE;
  hlpuart1.Init.OneBitSampling = UART_ONE_BIT_SAMPLE_DISABLE;
  hlpuart1.Init.ClockPrescaler = UART_PRESCALER_DIV1;
  hlpuart1.AdvancedInit.AdvFeatureInit = UART_ADVFEATURE_NO_INIT;
  if (HAL_UART_Init(&hlpuart1) != HAL_OK)
  {
    Error_Handler();
  }
  if (HAL_UARTEx_SetTxFifoThreshold(&hlpuart1, UART_TXFIFO_THRESHOLD_1_8) != HAL_OK)
  {
    Error_Handler();
  }
  if (HAL_UARTEx_SetRxFifoThreshold(&hlpuart1, UART_RXFIFO_THRESHOLD_1_8) != HAL_OK)
  {
    Error_Handler();
  }
  if (HAL_UARTEx_DisableFifoMode(&hlpuart1) != HAL_OK)
  {
    Error_Handler();
  }

}

static void MX_USART1_UART_Init(void)
{

  huart1.Instance = USART1;
  huart1.Init.BaudRate = 9600;
  huart1.Init.WordLength = UART_WORDLENGTH_8B;
  huart1.Init.StopBits = UART_STOPBITS_1;
  huart1.Init.Parity = UART_PARITY_NONE;
  huart1.Init.Mode = UART_MODE_TX_RX;
  huart1.Init.HwFlowCtl = UART_HWCONTROL_NONE;
  huart1.Init.OverSampling = UART_OVERSAMPLING_16;
  huart1.Init.OneBitSampling = UART_ONE_BIT_SAMPLE_DISABLE;
  huart1.Init.ClockPrescaler = UART_PRESCALER_DIV1;
  huart1.AdvancedInit.AdvFeatureInit = UART_ADVFEATURE_NO_INIT;
  if (HAL_UART_Init(&huart1) != HAL_OK)
  {
    Error_Handler();
  }
  if (HAL_UARTEx_SetTxFifoThreshold(&huart1, UART_TXFIFO_THRESHOLD_1_8) != HAL_OK)
  {
    Error_Handler();
  }
  if (HAL_UARTEx_SetRxFifoThreshold(&huart1, UART_RXFIFO_THRESHOLD_1_8) != HAL_OK)
  {
    Error_Handler();
  }
  if (HAL_UARTEx_DisableFifoMode(&huart1) != HAL_OK)
  {
    Error_Handler();
  }

}

static void MX_USART3_UART_Init(void)
{

  huart3.Instance = USART3;
  huart3.Init.BaudRate = 115200;
  huart3.Init.WordLength = UART_WORDLENGTH_8B;
  huart3.Init.StopBits = UART_STOPBITS_1;
  huart3.Init.Parity = UART_PARITY_NONE;
  huart3.Init.Mode = UART_MODE_TX_RX;
  huart3.Init.HwFlowCtl = UART_HWCONTROL_NONE;
  huart3.Init.OverSampling = UART_OVERSAMPLING_16;
  huart3.Init.OneBitSampling = UART_ONE_BIT_SAMPLE_DISABLE;
  huart3.Init.ClockPrescaler = UART_PRESCALER_DIV1;
  huart3.AdvancedInit.AdvFeatureInit = UART_ADVFEATURE_NO_INIT;
  if (HAL_UART_Init(&huart3) != HAL_OK)
  {
    Error_Handler();
  }
  if (HAL_UARTEx_SetTxFifoThreshold(&huart3, UART_TXFIFO_THRESHOLD_1_8) != HAL_OK)
  {
    Error_Handler();
  }
  if (HAL_UARTEx_SetRxFifoThreshold(&huart3, UART_RXFIFO_THRESHOLD_1_8) != HAL_OK)
  {
    Error_Handler();
  }
  if (HAL_UARTEx_DisableFifoMode(&huart3) != HAL_OK)
  {
    Error_Handler();
  }

}

static void MX_TIM2_Init(void)
{

  TIM_SlaveConfigTypeDef sSlaveConfig = {0};
  TIM_MasterConfigTypeDef sMasterConfig = {0};
  TIM_IC_InitTypeDef sConfigIC = {0};
  TIM_OC_InitTypeDef sConfigOC = {0};

  htim2.Instance = TIM2;
  htim2.Init.Prescaler = 0;
  htim2.Init.CounterMode = TIM_COUNTERMODE_UP;
  htim2.Init.Period = 425000;
  htim2.Init.ClockDivision = TIM_CLOCKDIVISION_DIV1;
  htim2.Init.AutoReloadPreload = TIM_AUTORELOAD_PRELOAD_DISABLE;
  if (HAL_TIM_Base_Init(&htim2) != HAL_OK)
  {
    Error_Handler();
  }
  if (HAL_TIM_IC_Init(&htim2) != HAL_OK)
  {
    Error_Handler();
  }
  if (HAL_TIM_OC_Init(&htim2) != HAL_OK)
  {
    Error_Handler();
  }
  sSlaveConfig.SlaveMode = TIM_SLAVEMODE_RESET;
  sSlaveConfig.InputTrigger = TIM_TS_TI2FP2;
  sSlaveConfig.TriggerPolarity = TIM_INPUTCHANNELPOLARITY_RISING;
  sSlaveConfig.TriggerFilter = 0;
  if (HAL_TIM_SlaveConfigSynchro(&htim2, &sSlaveConfig) != HAL_OK)
  {
    Error_Handler();
  }
  sMasterConfig.MasterOutputTrigger = TIM_TRGO_RESET;
  sMasterConfig.MasterSlaveMode = TIM_MASTERSLAVEMODE_DISABLE;
  if (HAL_TIMEx_MasterConfigSynchronization(&htim2, &sMasterConfig) != HAL_OK)
  {
    Error_Handler();
  }
  sConfigIC.ICPolarity = TIM_INPUTCHANNELPOLARITY_FALLING;
  sConfigIC.ICSelection = TIM_ICSELECTION_INDIRECTTI;
  sConfigIC.ICPrescaler = TIM_ICPSC_DIV1;
  sConfigIC.ICFilter = 0;
  if (HAL_TIM_IC_ConfigChannel(&htim2, &sConfigIC, TIM_CHANNEL_1) != HAL_OK)
  {
    Error_Handler();
  }
  sConfigIC.ICPolarity = TIM_INPUTCHANNELPOLARITY_RISING;
  sConfigIC.ICSelection = TIM_ICSELECTION_DIRECTTI;
  if (HAL_TIM_IC_ConfigChannel(&htim2, &sConfigIC, TIM_CHANNEL_2) != HAL_OK)
  {
    Error_Handler();
  }
  sConfigOC.OCMode = TIM_OCMODE_TIMING;
  sConfigOC.Pulse = 8900;
  sConfigOC.OCPolarity = TIM_OCPOLARITY_LOW;
  sConfigOC.OCFastMode = TIM_OCFAST_DISABLE;
  if (HAL_TIM_OC_ConfigChannel(&htim2, &sConfigOC, TIM_CHANNEL_3) != HAL_OK)
  {
    Error_Handler();
  }
  /* USER CODE BEGIN TIM2_Init 2 */
	/*##-4- Start the Input Capture in interrupt mode ##########################*/
	if (HAL_TIM_IC_Start_IT(&htim2, TIM_CHANNEL_2) != HAL_OK) {
		/* Starting Error */
		Error_Handler();
	}

	/*##-5- Start the Input Capture in interrupt mode ##########################*/
	if (HAL_TIM_IC_Start_IT(&htim2, TIM_CHANNEL_1) != HAL_OK) {
		/* Starting Error */
		Error_Handler();
	}
	if (HAL_TIM_OC_Start_IT(&htim2, TIM_CHANNEL_3) != HAL_OK) {
		/* Starting Error */
		Error_Handler();
	}
  /* USER CODE END TIM2_Init 2 */

}

static void MX_TIM4_Init(void)
{

  TIM_ClockConfigTypeDef sClockSourceConfig = {0};
  TIM_MasterConfigTypeDef sMasterConfig = {0};
  TIM_OC_InitTypeDef sConfigOC = {0};

  htim4.Instance = TIM4;
  htim4.Init.Prescaler = 170-1;
  htim4.Init.CounterMode = TIM_COUNTERMODE_UP;
  htim4.Init.Period = 4;
  htim4.Init.ClockDivision = TIM_CLOCKDIVISION_DIV1;
  htim4.Init.AutoReloadPreload = TIM_AUTORELOAD_PRELOAD_ENABLE;
  if (HAL_TIM_Base_Init(&htim4) != HAL_OK)
  {
    Error_Handler();
  }
  sClockSourceConfig.ClockSource = TIM_CLOCKSOURCE_INTERNAL;
  if (HAL_TIM_ConfigClockSource(&htim4, &sClockSourceConfig) != HAL_OK)
  {
    Error_Handler();
  }
  if (HAL_TIM_OC_Init(&htim4) != HAL_OK)
  {
    Error_Handler();
  }
  sMasterConfig.MasterOutputTrigger = TIM_TRGO_UPDATE;
  sMasterConfig.MasterSlaveMode = TIM_MASTERSLAVEMODE_DISABLE;
  if (HAL_TIMEx_MasterConfigSynchronization(&htim4, &sMasterConfig) != HAL_OK)
  {
    Error_Handler();
  }
  sConfigOC.OCMode = TIM_OCMODE_TIMING;
  sConfigOC.Pulse = 0;
  sConfigOC.OCPolarity = TIM_OCPOLARITY_HIGH;
  sConfigOC.OCFastMode = TIM_OCFAST_DISABLE;
  if (HAL_TIM_OC_ConfigChannel(&htim4, &sConfigOC, TIM_CHANNEL_4) != HAL_OK)
  {
    Error_Handler();
  }
  __HAL_TIM_ENABLE_OCxPRELOAD(&htim4, TIM_CHANNEL_4);

}

static void MX_DMA_Init(void)
{

  /* DMA controller clock enable */
  __HAL_RCC_DMAMUX1_CLK_ENABLE();
  __HAL_RCC_DMA1_CLK_ENABLE();

  /* DMA interrupt init */
  /* DMA1_Channel1_IRQn interrupt configuration */
  HAL_NVIC_SetPriority(DMA1_Channel1_IRQn, 5, 0);
  HAL_NVIC_EnableIRQ(DMA1_Channel1_IRQn);

}

static void MX_GPIO_Init(void)
{
  GPIO_InitTypeDef GPIO_InitStruct = {0};

  /* GPIO Ports Clock Enable */
  __HAL_RCC_GPIOC_CLK_ENABLE();
  __HAL_RCC_GPIOF_CLK_ENABLE();
  __HAL_RCC_GPIOA_CLK_ENABLE();
  __HAL_RCC_GPIOB_CLK_ENABLE();
  __HAL_RCC_GPIOD_CLK_ENABLE();

  /*Configure GPIO pin Output Level */
  HAL_GPIO_WritePin(LD2_GPIO_Port, LD2_Pin, GPIO_PIN_RESET);

  /*Configure GPIO pin Output Level */
  HAL_GPIO_WritePin(GPIOC, GPIO_PIN_7, GPIO_PIN_RESET);

  /*Configure GPIO pin Output Level */
  HAL_GPIO_WritePin(GPIOB, GPIO_PIN_4|GPIO_PIN_5, GPIO_PIN_RESET);

  /*Configure GPIO pin : B1_Pin */
  GPIO_InitStruct.Pin = B1_Pin;
  GPIO_InitStruct.Mode = GPIO_MODE_IT_RISING;
  GPIO_InitStruct.Pull = GPIO_NOPULL;
  HAL_GPIO_Init(B1_GPIO_Port, &GPIO_InitStruct);

  /*Configure GPIO pin : PC3 */
  GPIO_InitStruct.Pin = GPIO_PIN_3;
  GPIO_InitStruct.Mode = GPIO_MODE_INPUT;
  GPIO_InitStruct.Pull = GPIO_NOPULL;
  HAL_GPIO_Init(GPIOC, &GPIO_InitStruct);

  /*Configure GPIO pin : PA0 */
  GPIO_InitStruct.Pin = GPIO_PIN_0;
  GPIO_InitStruct.Mode = GPIO_MODE_INPUT;
  GPIO_InitStruct.Pull = GPIO_NOPULL;
  HAL_GPIO_Init(GPIOA, &GPIO_InitStruct);

  /*Configure GPIO pin : LD2_Pin */
  GPIO_InitStruct.Pin = LD2_Pin;
  GPIO_InitStruct.Mode = GPIO_MODE_OUTPUT_PP;
  GPIO_InitStruct.Pull = GPIO_NOPULL;
  GPIO_InitStruct.Speed = GPIO_SPEED_FREQ_LOW;
  HAL_GPIO_Init(LD2_GPIO_Port, &GPIO_InitStruct);

  /*Configure GPIO pin : PC7 */
  GPIO_InitStruct.Pin = GPIO_PIN_7;
  GPIO_InitStruct.Mode = GPIO_MODE_OUTPUT_PP;
  GPIO_InitStruct.Pull = GPIO_NOPULL;
  GPIO_InitStruct.Speed = GPIO_SPEED_FREQ_LOW;
  HAL_GPIO_Init(GPIOC, &GPIO_InitStruct);

  /*Configure GPIO pin : PD2 */
  GPIO_InitStruct.Pin = GPIO_PIN_2;
  GPIO_InitStruct.Mode = GPIO_MODE_INPUT;
  GPIO_InitStruct.Pull = GPIO_NOPULL;
  HAL_GPIO_Init(GPIOD, &GPIO_InitStruct);

  /*Configure GPIO pins : PB4 PB5 */
  GPIO_InitStruct.Pin = GPIO_PIN_4|GPIO_PIN_5;
  GPIO_InitStruct.Mode = GPIO_MODE_OUTPUT_PP;
  GPIO_InitStruct.Pull = GPIO_NOPULL;
  GPIO_InitStruct.Speed = GPIO_SPEED_FREQ_LOW;
  HAL_GPIO_Init(GPIOB, &GPIO_InitStruct);

  /* EXTI interrupt init*/
  HAL_NVIC_SetPriority(EXTI15_10_IRQn, 5, 0);
  HAL_NVIC_EnableIRQ(EXTI15_10_IRQn);

}

/* USER CODE BEGIN 4 */
void HAL_TIM_OC_DelayElapsedCallback(TIM_HandleTypeDef *htim)
{
	if (htim->Instance == TIM2)
		LL_HRTIM_DisableOutput(HRTIM1, LL_HRTIM_OUTPUT_TC1 | LL_HRTIM_OUTPUT_TC2);
}

void HAL_COMP_TriggerCallback(COMP_HandleTypeDef *hcomp) {
	if (hcomp->Instance == COMP1) {
		//printf("Line1=%d;\r\n", 1);
	} else if (hcomp->Instance == COMP2) {
		//printf("Line2=%d;\r\n",2);
	}
}

void HAL_TIM_IC_CaptureCallback(TIM_HandleTypeDef *htim) {
	if (htim->Channel == HAL_TIM_ACTIVE_CHANNEL_2) {
		/* Get the Input Capture value when rising edge*/
		uwIC2Value = HAL_TIM_ReadCapturedValue(htim, TIM_CHANNEL_2);

		if (uwIC2Value != 0) {
			/* Duty cycle computation */
			uwDutyCycle = (uint16_t) (1000 * HAL_TIM_ReadCapturedValue(htim, TIM_CHANNEL_1) / uwIC2Value);
			if ((uwDutyCycle > 264) && (uwDutyCycle < 1000))
			{
				LL_HRTIM_EnableOutput(HRTIM1, LL_HRTIM_OUTPUT_TC1 | LL_HRTIM_OUTPUT_TC2);
				LL_HRTIM_TIM_SetCompare1(HRTIM1, LL_HRTIM_TIMER_C, inputDutycycleToHrtim_Cmpvalue[uwDutyCycle]);
			}
			else
				LL_HRTIM_DisableOutput(HRTIM1, LL_HRTIM_OUTPUT_TC1 | LL_HRTIM_OUTPUT_TC2);
			/* uwFrequency computation
			 TIM2 counter clock = (RCC_Clocks.HCLK_Frequency) */
			uwFrequency = (HAL_RCC_GetHCLKFreq()) / uwIC2Value;
		} else {
			uwDutyCycle = 0;
			uwFrequency = 0;
		}
	}
}

void HAL_ADC_ConvCpltCallback(ADC_HandleTypeDef *hadc) {
	/* This is called after the conversion is completed */
	//  HAL_TIMEx_ConfigDeadTime(&hhrtim1, 200);
	//HAL_TIMEx_ConfigDeadTime(&htim1, ADCValue[1]/16);
	//__HAL_TIM_SET_COMPARE(&htim1, TIM_CHANNEL_1, ADCValue[1]/2.415);
	//LL_HRTIM_TIM_SetCompare1(HRTIM1, LL_HRTIM_TIMER_C, BUCK_PWM_PERIOD / 2);if (ADCValue[1] < pwm_adc_low_threshold)
	/*
	LL_HRTIM_EnableOutput(HRTIM1,
			LL_HRTIM_OUTPUT_TC1 | LL_HRTIM_OUTPUT_TC2);
	LL_HRTIM_TIM_SetCompare1(HRTIM1, LL_HRTIM_TIMER_C,
			BUCK_PWM_PERIOD * (4095 - 2560) / 4096);

	if ((ADCValue[1] > pwm_adc_low_threshold)
			&& (ADCValue[1] < pwm_adc_high_threshold)) {
		LL_HRTIM_EnableOutput(HRTIM1,
		LL_HRTIM_OUTPUT_TC1 | LL_HRTIM_OUTPUT_TC2);
		LL_HRTIM_TIM_SetCompare1(HRTIM1, LL_HRTIM_TIMER_C,
		BUCK_PWM_PERIOD * (4095 - ADCValue[1]) / 4096);
	} else if (ADCValue[1] < pwm_adc_low_threshold) {
		LL_HRTIM_DisableOutput(HRTIM1,
		LL_HRTIM_OUTPUT_TC1 | LL_HRTIM_OUTPUT_TC2);
		//LL_HRTIM_TIM_SetCompare1(HRTIM1, LL_HRTIM_TIMER_C, BUCK_PWM_PERIOD * (4095 - pwm_adc_low_threshold) /4096);
	} else if (ADCValue[1] > pwm_adc_high_threshold) {
		LL_HRTIM_EnableOutput(HRTIM1,
		LL_HRTIM_OUTPUT_TC1 | LL_HRTIM_OUTPUT_TC2);
		LL_HRTIM_TIM_SetCompare1(HRTIM1, LL_HRTIM_TIMER_C,
		BUCK_PWM_PERIOD * (4095 - pwm_adc_high_threshold) / 4096);
	}
	*/
}

/* USER CODE END 4 */

void StartTempMeasTask(void *argument)
{
  /* USER CODE BEGIN 5 */
	/* Infinite loop */
	for (;;) {
		mcuTemp = __LL_ADC_CALC_TEMPERATURE(VDDA_APPLI, ADCValue[4],
				LL_ADC_RESOLUTION_12B);
		int16_t mcuTempInt = (int16_t) mcuTemp;
		osMessageQueuePut(McuTempQueueHandle, &mcuTempInt, 0U, 0);
		osDelay(1000);
	}
  /* USER CODE END 5 */
}

void StartUsart3PrintTask(void *argument)
{
  /* USER CODE BEGIN StartUsart3PrintTask */
	/* Infinite loop */
	int16_t mcuTempInt = 0, flybackTempInt = 0, laserTubeTempInt = 0;
	char buff[10];
	printf("\r\nYour name: ");
	scanf("%s", buff);
	//HAL_UART_Receive(&huart3, (uint8_t *)buff, 10, HAL_MAX_DELAY);
	printf("\r\nHello, %s!\r\n", buff);
	for (;;) {
		//printf("MCU Temperature = %f\r\n", mcuTemp);
		if (osMessageQueueGetCount(McuTempQueueHandle)) {
			osMessageQueueGet(McuTempQueueHandle, &mcuTempInt, 0U, 0);
			osMutexWait(usart3MutexHandle, osWaitForever);
			printf("MCU Temperature = %d\r\n", mcuTempInt);
			osMutexRelease(usart3MutexHandle);
		}
		if (osMessageQueueGetCount(FlybackTempQueueHandle)) {
			osMessageQueueGet(FlybackTempQueueHandle, &mcuTempInt, 0U, 0);
			osMutexWait(usart3MutexHandle, osWaitForever);
			printf("Flyback Temperature = %d\r\n", flybackTempInt);
			osMutexRelease(usart3MutexHandle);
		}
		if (osMessageQueueGetCount(LaserTubeTempQueueHandle)) {
			osMessageQueueGet(LaserTubeTempQueueHandle, &laserTubeTempInt, 0U,
					0);
			osMutexWait(usart3MutexHandle, osWaitForever);
			printf("Laser Tube Temperature = %d\r\n", laserTubeTempInt);
			osMutexRelease(usart3MutexHandle);
		}
		osDelay(1);
	}
  /* USER CODE END StartUsart3PrintTask */
}

void HAL_TIM_PeriodElapsedCallback(TIM_HandleTypeDef *htim)
{
  if (htim->Instance == TIM1) {
    HAL_IncTick();
  }
}

void Error_Handler(void)
{
}
